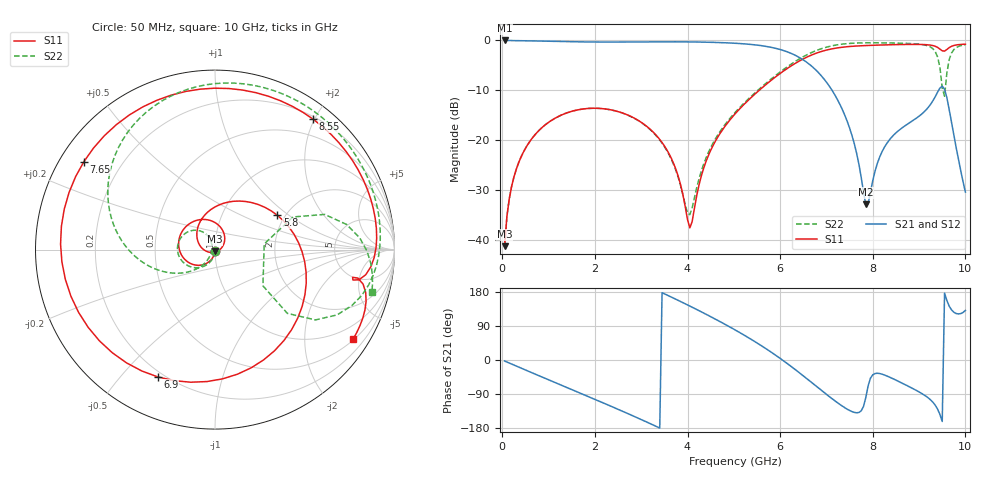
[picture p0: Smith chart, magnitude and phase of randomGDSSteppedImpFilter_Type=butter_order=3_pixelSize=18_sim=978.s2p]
! freq	dB(S11)	phase(S11)	dB(S12)	phase(S12)
!  dB(S21)	phase(S21)	dB(S22)	phase(S22)
!S-par simulation data
#  GHz  S  DB  R 50
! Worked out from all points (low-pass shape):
!   200 points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, 50 MHz to 10 GHz, reference 50 ohm
!   highest |S21| = 0.00 dB at 50 MHz (marker M1); lowest = -32.8 dB at 7.85 GHz (marker M2)
!   |S21| within 3 dB of the highest: start of sweep to 6.332 GHz
!   lowest |S11| = -41.2 dB at 50 MHz (marker M3), VSWR 1.02, Z = 50 - j0.869 ohm
!   |S11| at or under -10 dB: start of sweep to 5.545 GHz
!   |S22| runs from -41.2 to -0.5 dB; largest |S21 - S12| = 0
!   S11 on the Smith chart (normalised r, x): 50 MHz: 1.00, -0.02; 5.8 GHz: 1.83, +0.83; 6.9 GHz: 0.18, -0.63; 7.65 GHz: 0.07, +0.30; 8.55 GHz: 0.24, +1.98; 10 GHz: 0.53, -3.32
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0.05  -41.20 -92.3  -0.00 -2.7  -0.00 -2.7  -41.20 -91.9
0.2  -29.29 -101.5  -0.02 -10.6  -0.02 -10.6  -29.29 -99.7
0.5  -21.61 -119.1  -0.07 -26.3  -0.07 -26.3  -21.61 -114.5
1.75  -13.72 169.2  -0.29 -91.0  -0.29 -91.0  -13.72 -172.7
2.5  -14.25 123.8  -0.32 -130.1  -0.32 -130.1  -14.26 154.6
3.4  -19.83 60.5  -0.27 -179.5  -0.27 -179.5  -19.95 120.3
4.05  -37.54 -69.1  -0.29 142.3  -0.29 142.3  -34.89 -177.4
4.45  -23.06 175.4  -0.36 117.5  -0.36 117.5  -22.43 -125.9
5.05  -14.46 111.9  -0.58 77.8  -0.58 77.8  -14.18 -140.4
5.8  -8.03 28.7  -1.37 21.2  -1.37 21.2  -7.77 -170.1
6.3  -4.73 -33.1  -2.86 -22.8  -2.86 -22.8  -4.36 162.8
6.7  -2.84 -86.6  -5.31 -61.4  -5.31 -61.4  -2.33 137.0
6.9  -2.19 -114.1  -7.20 -81.0  -7.20 -81.0  -1.62 123.3
7.3  -1.41 -168.8  -12.99 -118.1  -12.99 -118.1  -0.79 96.2
7.65  -1.11 146.2  -22.55 -139.3  -22.55 -139.3  -0.52 74.2
7.85  -1.02 122.5  -32.85 -98.7  -32.85 -98.7  -0.47 62.5
8.35  -0.87 70.7  -20.02 -44.5  -20.02 -44.5  -0.50 35.5
8.55  -0.83 53.0  -18.11 -56.0  -18.11 -56.0  -0.53 25.2
9.2  -0.89 4.0  -13.39 -100.2  -13.39 -100.2  -1.12 -12.9
9.5  -2.08 -12.4  -9.16 -162.2  -9.16 -162.2  -9.51 -37.1
9.65  -1.44 -13.1  -13.83 142.2  -13.83 142.2  -3.85 17.8
10  -0.75 -32.8  -30.38 130.7  -30.38 130.7  -0.86 -15.3
